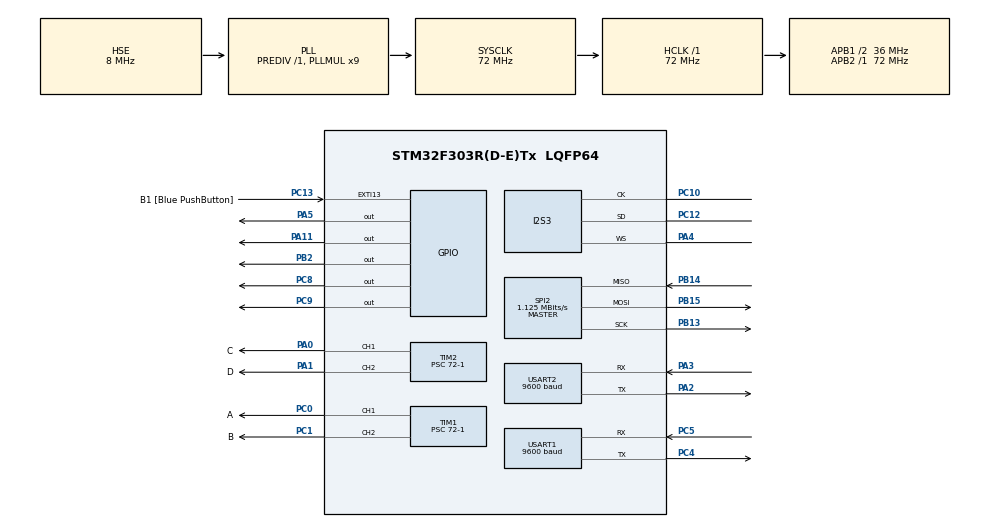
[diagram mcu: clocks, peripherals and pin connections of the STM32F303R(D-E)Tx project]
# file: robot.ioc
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I2S3.AudioFreq=I2S_AUDIOFREQ_16K
I2S3.ErrorAudioFreq=-0.26 %
I2S3.FullDuplexMode=I2S_FULLDUPLEXMODE_DISABLE
I2S3.Instance=SPI$Index
I2S3.RealAudioFreq=15.957 KHz
I2S3.VirtualMode=I2S_MODE_MASTER
Mcu.Family=STM32F3
Mcu.Name=STM32F303R(D-E)Tx
Mcu.Package=LQFP64
NVIC.PriorityGroup=NVIC_PRIORITYGROUP_0
NVIC.TIM2_IRQn=true\:0\:0\:false\:false\:true\:true\:true\:true
NVIC.TIM3_IRQn=true\:0\:0\:false\:false\:true\:true\:true\:true
NVIC.USART1_IRQn=true\:0\:0\:false\:false\:true\:true\:true\:true
NVIC.USART2_IRQn=true\:0\:0\:false\:false\:true\:true\:true\:true
PA0.GPIO_Label=C
PA0.Signal=S_TIM2_CH1_ETR
PA1.GPIO_Label=D
PA1.Signal=S_TIM2_CH2
PA11.Signal=GPIO_Output
PA13.GPIO_Label=TMS
PA13.Mode=Serial_Wire
PA13.Signal=SYS_JTMS-SWDIO
PA14.GPIO_Label=TCK
PA14.Mode=Serial_Wire
PA14.Signal=SYS_JTCK-SWCLK
PA2.Mode=Asynchronous
PA2.Signal=USART2_TX
PA3.Mode=Asynchronous
PA3.Signal=USART2_RX
PA4.Mode=Half_Duplex_Master
PA4.Signal=I2S3_WS
PA5.Signal=GPIO_Output
PB13.Mode=Full_Duplex_Master
PB13.Signal=SPI2_SCK
PB14.Mode=Full_Duplex_Master
PB14.Signal=SPI2_MISO
PB15.Mode=Full_Duplex_Master
PB15.Signal=SPI2_MOSI
PB2.Signal=GPIO_Output
PB3.GPIO_Label=SWO
PB3.Signal=SYS_JTDO-TRACESWO
PC0.GPIO_Label=A
PC0.Signal=S_TIM1_CH1
PC1.GPIO_Label=B
PC1.Signal=S_TIM1_CH2
PC10.Mode=Half_Duplex_Master
PC10.Signal=I2S3_CK
PC12.Mode=Half_Duplex_Master
PC12.Signal=I2S3_SD
PC13.GPIO_Label=B1 [Blue PushButton]
PC13.GPIO_ModeDefaultEXTI=GPIO_MODE_IT_FALLING
PC13.Signal=GPXTI13
PC14-OSC32_IN.Signal=RCC_OSC32_IN
PC15-OSC32_OUT.Signal=RCC_OSC32_OUT
PC4.Mode=Asynchronous
PC4.Signal=USART1_TX
PC5.Mode=Asynchronous
PC5.Signal=USART1_RX
PC8.Signal=GPIO_Output
PC9.Signal=GPIO_Output
PF0-OSC_IN.Mode=HSE-External-Oscillator
PF0-OSC_IN.Signal=RCC_OSC_IN
PF1-OSC_OUT.Mode=HSE-External-Oscillator
PF1-OSC_OUT.Signal=RCC_OSC_OUT
ProjectManager.HeapSize=0x200
ProjectManager.StackSize=0x400
ProjectManager.TargetToolchain=STM32CubeIDE
RCC.AHBFreq_Value=72000000
RCC.APB1CLKDivider=RCC_HCLK_DIV2
RCC.APB1Freq_Value=36000000
RCC.APB1TimFreq_Value=72000000
RCC.APB2Freq_Value=72000000
RCC.APB2TimFreq_Value=72000000
RCC.CortexFreq_Value=72000000
RCC.HCLKFreq_Value=72000000
RCC.HSE_VALUE=8000000
RCC.HSI_VALUE=8000000
RCC.LSE_VALUE=32768
RCC.PLLM=8
RCC.PLLMUL=RCC_PLL_MUL9
RCC.PLLN=336
RCC.PLLP=RCC_PLLP_DIV4
RCC.PLLQ=7
RCC.PLLSourceVirtual=RCC_PLLSOURCE_HSE
RCC.RCC_PLLsource_Clock_Source_FROM_HSE=RCC_HSE_PREDIV_DIV2
RCC.SYSCLKFreq_VALUE=72000000
RCC.SYSCLKSourceVirtual=RCC_SYSCLKSOURCE_PLLCLK
RCC.USBFreq_Value=72000000
SH.S_TIM1_CH1.0=TIM1_CH1,PWM Generation1 CH1
SH.S_TIM1_CH2.0=TIM1_CH2,PWM Generation2 CH2
SH.S_TIM2_CH1_ETR.0=TIM2_CH1,PWM Generation1 CH1
SH.S_TIM2_CH2.0=TIM2_CH2,PWM Generation2 CH2
SPI2.BaudRatePrescaler=SPI_BAUDRATEPRESCALER_32
SPI2.CalculateBaudRate=1.125 MBits/s
SPI2.DataSize=SPI_DATASIZE_8BIT
SPI2.Direction=SPI_DIRECTION_2LINES
SPI2.Mode=SPI_MODE_MASTER
SPI2.VirtualType=VM_MASTER
TIM1.Channel-PWM\ Generation1\ CH1=TIM_CHANNEL_1
TIM1.Channel-PWM\ Generation2\ CH2=TIM_CHANNEL_2
TIM1.Period=20000-1
TIM1.Prescaler=72-1
TIM2.Channel-PWM\ Generation1\ CH1=TIM_CHANNEL_1
TIM2.Channel-PWM\ Generation2\ CH2=TIM_CHANNEL_2
TIM2.Period=20000-1
TIM2.Prescaler=72-1
TIM3.Period=31
TIM3.Prescaler=71
USART1.BaudRate=9600
USART1.VirtualMode-Asynchronous=VM_ASYNC
USART2.BaudRate=9600
USART2.VirtualMode-Asynchronous=VM_ASYNC
VP_TIM1_VS_ClockSourceINT.Mode=Internal
VP_TIM2_VS_ClockSourceINT.Mode=Internal
VP_TIM3_VS_ClockSourceINT.Mode=Internal
board=NUCLEO-F303RE

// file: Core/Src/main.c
/* USER CODE BEGIN Header */
/**
 ******************************************************************************
 * @file           : main.c
 * @brief          : Main program body
 ******************************************************************************
 * @attention
 *
 * Copyright (c) 2026 STMicroelectronics.
 * All rights reserved.
 *
 * This software is licensed under terms that can be found in the LICENSE file
 * in the root directory of this software component.
 * If no LICENSE file comes with this software, it is provided AS-IS.
 *
 ******************************************************************************
 */
/* USER CODE END Header */
#include "main.h"

/* USER CODE BEGIN Includes */
#include <stdbool.h>
#include <st7735.h>
#include <fonts.h>
#include <GFX_FUNCTIONS.h>
#include <string.h>
#include "adpcm.h"
#include "fatcat.h"
#include "Image.h"
#include "ringtone1.h"
/* USER CODE END Includes */

/* USER CODE BEGIN PD */
#define BUFFER_LEN  20
#define DEFAULT_STARTUP_VAL (0x80)
#define MSG_SIZE 1

/* USER CODE END PD */

I2S_HandleTypeDef hi2s3;

SPI_HandleTypeDef hspi2;

TIM_HandleTypeDef htim1;
TIM_HandleTypeDef htim2;
TIM_HandleTypeDef htim3;

UART_HandleTypeDef huart1;
UART_HandleTypeDef huart2;

/* USER CODE BEGIN PV */

int32_t pwm_val = 0;
bool direction = 0;
uint8_t ringtone1[54334];

uint8_t RX_BUFFER[BUFFER_LEN];
uint8_t TX_BUFFER[BUFFER_LEN];
volatile uint8_t rx1, rx2;
volatile uint8_t text_request, rx_index = 0;

/* USER CODE END PV */

void SystemClock_Config(void);
static void MX_GPIO_Init(void);
static void MX_SPI2_Init(void);
static void MX_USART1_UART_Init(void);
static void MX_TIM2_Init(void);
static void MX_TIM1_Init(void);
static void MX_USART2_UART_Init(void);
static void MX_I2S3_Init(void);
static void MX_TIM3_Init(void);

/* USER CODE BEGIN 0 */
uint8_t c;

uint16_t txData;
int txIndex;
void HAL_TIM_PeriodElapsedCallback(TIM_HandleTypeDef *htim) {
	if (htim->Instance == TIM3) {
		txData = ((uint16_t) ringtone1[txIndex + 1] << 8) | ringtone1[txIndex];
		txIndex = txIndex + 2;
		if (txIndex > 54334)
			txIndex = 0;
		HAL_I2S_Transmit(&hi2s3, &txData, 1, 10);
	}
}

void HAL_UART_RxCpltCallback(UART_HandleTypeDef *huart) {
	if (huart->Instance == USART1) {
		HAL_UART_Receive_IT(&huart1, &rx1, MSG_SIZE);
	}
	// uart 2 for AT mode and debugging
	/*if (huart->Instance == USART2) {
	 HAL_UART_Transmit(&huart1, &rx2, MSG_SIZE, 100);
	 HAL_UART_Receive_IT(&huart2, &rx2, MSG_SIZE);
	 }*/
}

/* USER CODE END 0 */

int main(void) {

	/* MCU Configuration--------------------------------------------------------*/

	/* Reset of all peripherals, Initializes the Flash interface and the Systick. */
	HAL_Init();

	/* Configure the system clock */
	SystemClock_Config();

	/* Initialize all configured peripherals */
	MX_GPIO_Init();
	MX_SPI2_Init();
	MX_USART1_UART_Init();
	MX_TIM2_Init();
	MX_TIM1_Init();
	MX_USART2_UART_Init();
	MX_I2S3_Init();
	MX_TIM3_Init();
	/* USER CODE BEGIN 2 */

	txIndex = 0;
	HAL_TIM_Base_Start_IT(&htim3);

	HAL_TIM_PWM_Start(&htim2, TIM_CHANNEL_1);
	HAL_TIM_PWM_Start(&htim2, TIM_CHANNEL_2);
	HAL_TIM_PWM_Start(&htim1, TIM_CHANNEL_1);
	HAL_TIM_PWM_Start(&htim1, TIM_CHANNEL_2);

	HAL_UART_Receive_IT(&huart1, &rx1, MSG_SIZE);
	//HAL_UART_Receive_IT(&huart1, &rx2, 1);
	HAL_UART_Receive_IT(&huart2, &rx2, MSG_SIZE);
	ST7735_Init(0);
	//ST7735_DrawImage(0, 0, ST7735_WIDTH, ST7735_HEIGHT, image_data_Image);
	//HAL_Delay(3000);
	fillScreen(BLACK);
	/* USER CODE END 2 */

	/* Infinite loop */
	/* USER CODE BEGIN WHILE */

	//uint8_t cmd[] = "AT+UART=9600,1,0\r\n";
	char lcd_buf[11];
	int D_value = 1000; int A_value = 1000;
	int B_value = 1500; int C_value = 1500;
	bool D_peak = 0; bool A_peak = 0; bool B_peak = 0; bool C_peak = 0;

	while (1) {

		// servo motor
		HAL_GPIO_TogglePin(GPIOA, GPIO_PIN_5);

		if (text_request == 1) {
			text_request = 0;

			ST7735_SetRotation(3);
			ST7735_WriteString(0, 0, (char*) &rx1, Font_11x18, RED, BLACK);
			//lcd_buf[0] = rx1;
			//lcd_buf[10] = '\0';
			//ST7735_WriteString(0, 0, lcd_buf, Font_11x18, RED, BLACK);
			// if not black ?... --> hal gettick
			fillScreen(BLACK);

		}
		/*
		 // AT MODE
		 HAL_UART_Transmit(&huart1, cmd, sizeof(cmd)-1, 100);
		 // listen for response for 200 ms
		 uint32_t start = HAL_GetTick();
		 while (HAL_GetTick() - start < 200) {
		 if (HAL_UART_Receive(&huart1, &rx1, 1, 10) == HAL_OK) {
		 HAL_UART_Transmit(&huart2, &rx1, 1, 10); // send to PC
		 }
		 }
		 HAL_Delay(2000);
		 */

		// SERVO A
		__HAL_TIM_SET_COMPARE(&htim1, TIM_CHANNEL_1, A_value);
		if (!A_peak) A_value+=10;
		else A_value-=10;
		if (A_value >= 1500) A_peak = 1;
		if (A_value <= 750) A_peak = 0;

		// SERVO D
		__HAL_TIM_SET_COMPARE(&htim2, TIM_CHANNEL_2, D_value);
		if (!D_peak) D_value+=10;
		else D_value-=10;
		if (D_value >= 1500) D_peak = 1;
		if (D_value <= 750) D_peak = 0;

		// SERVO B
		__HAL_TIM_SET_COMPARE(&htim1, TIM_CHANNEL_2, B_value);
		if (!B_peak) B_value+=10;
		else B_value-=10;
		if (B_value >= 1500) B_peak = 1;
		if (B_value <= 750) B_peak = 0;

		// SERVO C
		__HAL_TIM_SET_COMPARE(&htim2, TIM_CHANNEL_1, C_value);
		if (!C_peak) C_value+=10;
		else C_value-=10;
		if (C_value >= 1500) C_peak = 1;
		if (C_value <= 750) C_peak = 0;

	/*
		 __HAL_TIM_SET_COMPARE(&htim2, TIM_CHANNEL_1, 1000);
		 __HAL_TIM_SET_COMPARE(&htim2, TIM_CHANNEL_2, 1000);
		 __HAL_TIM_SET_COMPARE(&htim1, TIM_CHANNEL_1, 1500);
		 __HAL_TIM_SET_COMPARE(&htim1, TIM_CHANNEL_2, 1500);
		 HAL_Delay(400);
		 __HAL_TIM_SET_COMPARE(&htim2, TIM_CHANNEL_1, 1500);
		 __HAL_TIM_SET_COMPARE(&htim2, TIM_CHANNEL_2, 1500);
		 __HAL_TIM_SET_COMPARE(&htim1, TIM_CHANNEL_1, 1000);
		 __HAL_TIM_SET_COMPARE(&htim1, TIM_CHANNEL_2, 1000);
		 HAL_Delay(400);
		 */

		/* USER CODE END WHILE */

		/* USER CODE BEGIN 3 */
		HAL_Delay(10);
	}
	/* USER CODE END 3 */
}

void SystemClock_Config(void) {
	RCC_OscInitTypeDef RCC_OscInitStruct = { 0 };
	RCC_ClkInitTypeDef RCC_ClkInitStruct = { 0 };
	RCC_PeriphCLKInitTypeDef PeriphClkInit = { 0 };

	/** Initializes the RCC Oscillators according to the specified parameters
	 * in the RCC_OscInitTypeDef structure.
	 */
	RCC_OscInitStruct.OscillatorType = RCC_OSCILLATORTYPE_HSE;
	RCC_OscInitStruct.HSEState = RCC_HSE_ON;
	RCC_OscInitStruct.HSIState = RCC_HSI_ON;
	RCC_OscInitStruct.PLL.PLLState = RCC_PLL_ON;
	RCC_OscInitStruct.PLL.PLLSource = RCC_PLLSOURCE_HSE;
	RCC_OscInitStruct.PLL.PLLMUL = RCC_PLL_MUL9;
	RCC_OscInitStruct.PLL.PREDIV = RCC_PREDIV_DIV1;
	if (HAL_RCC_OscConfig(&RCC_OscInitStruct) != HAL_OK) {
		Error_Handler();
	}

	/** Initializes the CPU, AHB and APB buses clocks
	 */
	RCC_ClkInitStruct.ClockType = RCC_CLOCKTYPE_HCLK | RCC_CLOCKTYPE_SYSCLK
			| RCC_CLOCKTYPE_PCLK1 | RCC_CLOCKTYPE_PCLK2;
	RCC_ClkInitStruct.SYSCLKSource = RCC_SYSCLKSOURCE_PLLCLK;
	RCC_ClkInitStruct.AHBCLKDivider = RCC_SYSCLK_DIV1;
	RCC_ClkInitStruct.APB1CLKDivider = RCC_HCLK_DIV2;
	RCC_ClkInitStruct.APB2CLKDivider = RCC_HCLK_DIV1;

	if (HAL_RCC_ClockConfig(&RCC_ClkInitStruct, FLASH_LATENCY_2) != HAL_OK) {
		Error_Handler();
	}
	PeriphClkInit.PeriphClockSelection = RCC_PERIPHCLK_I2S
			| RCC_PERIPHCLK_USART1 | RCC_PERIPHCLK_USART2 | RCC_PERIPHCLK_TIM1
			| RCC_PERIPHCLK_TIM2 | RCC_PERIPHCLK_TIM34;
	PeriphClkInit.Usart1ClockSelection = RCC_USART1CLKSOURCE_PCLK2;
	PeriphClkInit.Usart2ClockSelection = RCC_USART2CLKSOURCE_PCLK1;
	PeriphClkInit.I2sClockSelection = RCC_I2SCLKSOURCE_SYSCLK;
	PeriphClkInit.Tim1ClockSelection = RCC_TIM1CLK_HCLK;
	PeriphClkInit.Tim2ClockSelection = RCC_TIM2CLK_HCLK;
	PeriphClkInit.Tim34ClockSelection = RCC_TIM34CLK_HCLK;
	if (HAL_RCCEx_PeriphCLKConfig(&PeriphClkInit) != HAL_OK) {
		Error_Handler();
	}
}

static void MX_I2S3_Init(void) {

	hi2s3.Instance = SPI3;
	hi2s3.Init.Mode = I2S_MODE_MASTER_TX;
	hi2s3.Init.Standard = I2S_STANDARD_PHILIPS;
	hi2s3.Init.DataFormat = I2S_DATAFORMAT_16B;
	hi2s3.Init.MCLKOutput = I2S_MCLKOUTPUT_DISABLE;
	hi2s3.Init.AudioFreq = I2S_AUDIOFREQ_16K;
	hi2s3.Init.CPOL = I2S_CPOL_LOW;
	hi2s3.Init.ClockSource = I2S_CLOCK_SYSCLK;
	hi2s3.Init.FullDuplexMode = I2S_FULLDUPLEXMODE_DISABLE;
	if (HAL_I2S_Init(&hi2s3) != HAL_OK) {
		Error_Handler();
	}

}

static void MX_SPI2_Init(void) {

	/* SPI2 parameter configuration*/
	hspi2.Instance = SPI2;
	hspi2.Init.Mode = SPI_MODE_MASTER;
	hspi2.Init.Direction = SPI_DIRECTION_2LINES;
	hspi2.Init.DataSize = SPI_DATASIZE_8BIT;
	hspi2.Init.CLKPolarity = SPI_POLARITY_LOW;
	hspi2.Init.CLKPhase = SPI_PHASE_1EDGE;
	hspi2.Init.NSS = SPI_NSS_SOFT;
	hspi2.Init.BaudRatePrescaler = SPI_BAUDRATEPRESCALER_32;
	hspi2.Init.FirstBit = SPI_FIRSTBIT_MSB;
	hspi2.Init.TIMode = SPI_TIMODE_DISABLE;
	hspi2.Init.CRCCalculation = SPI_CRCCALCULATION_DISABLE;
	hspi2.Init.CRCPolynomial = 7;
	hspi2.Init.CRCLength = SPI_CRC_LENGTH_DATASIZE;
	hspi2.Init.NSSPMode = SPI_NSS_PULSE_ENABLE;
	if (HAL_SPI_Init(&hspi2) != HAL_OK) {
		Error_Handler();
	}

}

static void MX_TIM1_Init(void) {

	TIM_ClockConfigTypeDef sClockSourceConfig = { 0 };
	TIM_MasterConfigTypeDef sMasterConfig = { 0 };
	TIM_OC_InitTypeDef sConfigOC = { 0 };
	TIM_BreakDeadTimeConfigTypeDef sBreakDeadTimeConfig = { 0 };

	htim1.Instance = TIM1;
	htim1.Init.Prescaler = 72 - 1;
	htim1.Init.CounterMode = TIM_COUNTERMODE_UP;
	htim1.Init.Period = 20000 - 1;
	htim1.Init.ClockDivision = TIM_CLOCKDIVISION_DIV1;
	htim1.Init.RepetitionCounter = 0;
	htim1.Init.AutoReloadPreload = TIM_AUTORELOAD_PRELOAD_DISABLE;
	if (HAL_TIM_Base_Init(&htim1) != HAL_OK) {
		Error_Handler();
	}
	sClockSourceConfig.ClockSource = TIM_CLOCKSOURCE_INTERNAL;
	if (HAL_TIM_ConfigClockSource(&htim1, &sClockSourceConfig) != HAL_OK) {
		Error_Handler();
	}
	if (HAL_TIM_PWM_Init(&htim1) != HAL_OK) {
		Error_Handler();
	}
	sMasterConfig.MasterOutputTrigger = TIM_TRGO_RESET;
	sMasterConfig.MasterOutputTrigger2 = TIM_TRGO2_RESET;
	sMasterConfig.MasterSlaveMode = TIM_MASTERSLAVEMODE_DISABLE;
	if (HAL_TIMEx_MasterConfigSynchronization(&htim1, &sMasterConfig)
			!= HAL_OK) {
		Error_Handler();
	}
	sConfigOC.OCMode = TIM_OCMODE_PWM1;
	sConfigOC.Pulse = 0;
	sConfigOC.OCPolarity = TIM_OCPOLARITY_HIGH;
	sConfigOC.OCNPolarity = TIM_OCNPOLARITY_HIGH;
	sConfigOC.OCFastMode = TIM_OCFAST_DISABLE;
	sConfigOC.OCIdleState = TIM_OCIDLESTATE_RESET;
	sConfigOC.OCNIdleState = TIM_OCNIDLESTATE_RESET;
	if (HAL_TIM_PWM_ConfigChannel(&htim1, &sConfigOC, TIM_CHANNEL_1)
			!= HAL_OK) {
		Error_Handler();
	}
	if (HAL_TIM_PWM_ConfigChannel(&htim1, &sConfigOC, TIM_CHANNEL_2)
			!= HAL_OK) {
		Error_Handler();
	}
	sBreakDeadTimeConfig.OffStateRunMode = TIM_OSSR_DISABLE;
	sBreakDeadTimeConfig.OffStateIDLEMode = TIM_OSSI_DISABLE;
	sBreakDeadTimeConfig.LockLevel = TIM_LOCKLEVEL_OFF;
	sBreakDeadTimeConfig.DeadTime = 0;
	sBreakDeadTimeConfig.BreakState = TIM_BREAK_DISABLE;
	sBreakDeadTimeConfig.BreakPolarity = TIM_BREAKPOLARITY_HIGH;
	sBreakDeadTimeConfig.BreakFilter = 0;
	sBreakDeadTimeConfig.Break2State = TIM_BREAK2_DISABLE;
	sBreakDeadTimeConfig.Break2Polarity = TIM_BREAK2POLARITY_HIGH;
	sBreakDeadTimeConfig.Break2Filter = 0;
	sBreakDeadTimeConfig.AutomaticOutput = TIM_AUTOMATICOUTPUT_DISABLE;
	if (HAL_TIMEx_ConfigBreakDeadTime(&htim1, &sBreakDeadTimeConfig)
			!= HAL_OK) {
		Error_Handler();
	}
	HAL_TIM_MspPostInit(&htim1);

}

static void MX_TIM2_Init(void) {

	TIM_ClockConfigTypeDef sClockSourceConfig = { 0 };
	TIM_MasterConfigTypeDef sMasterConfig = { 0 };
	TIM_OC_InitTypeDef sConfigOC = { 0 };

	htim2.Instance = TIM2;
	htim2.Init.Prescaler = 72 - 1;
	htim2.Init.CounterMode = TIM_COUNTERMODE_UP;
	htim2.Init.Period = 20000 - 1;
	htim2.Init.ClockDivision = TIM_CLOCKDIVISION_DIV1;
	htim2.Init.AutoReloadPreload = TIM_AUTORELOAD_PRELOAD_DISABLE;
	if (HAL_TIM_Base_Init(&htim2) != HAL_OK) {
		Error_Handler();
	}
	sClockSourceConfig.ClockSource = TIM_CLOCKSOURCE_INTERNAL;
	if (HAL_TIM_ConfigClockSource(&htim2, &sClockSourceConfig) != HAL_OK) {
		Error_Handler();
	}
	if (HAL_TIM_PWM_Init(&htim2) != HAL_OK) {
		Error_Handler();
	}
	sMasterConfig.MasterOutputTrigger = TIM_TRGO_RESET;
	sMasterConfig.MasterSlaveMode = TIM_MASTERSLAVEMODE_DISABLE;
	if (HAL_TIMEx_MasterConfigSynchronization(&htim2, &sMasterConfig)
			!= HAL_OK) {
		Error_Handler();
	}
	sConfigOC.OCMode = TIM_OCMODE_PWM1;
	sConfigOC.Pulse = 0;
	sConfigOC.OCPolarity = TIM_OCPOLARITY_HIGH;
	sConfigOC.OCFastMode = TIM_OCFAST_DISABLE;
	if (HAL_TIM_PWM_ConfigChannel(&htim2, &sConfigOC, TIM_CHANNEL_1)
			!= HAL_OK) {
		Error_Handler();
	}
	if (HAL_TIM_PWM_ConfigChannel(&htim2, &sConfigOC, TIM_CHANNEL_2)
			!= HAL_OK) {
		Error_Handler();
	}
	HAL_TIM_MspPostInit(&htim2);

}

static void MX_TIM3_Init(void) {

	TIM_ClockConfigTypeDef sClockSourceConfig = { 0 };
	TIM_MasterConfigTypeDef sMasterConfig = { 0 };

	htim3.Instance = TIM3;
	htim3.Init.Prescaler = 71;
	htim3.Init.CounterMode = TIM_COUNTERMODE_UP;
	htim3.Init.Period = 31;
	htim3.Init.ClockDivision = TIM_CLOCKDIVISION_DIV1;
	htim3.Init.AutoReloadPreload = TIM_AUTORELOAD_PRELOAD_DISABLE;
	if (HAL_TIM_Base_Init(&htim3) != HAL_OK) {
		Error_Handler();
	}
	sClockSourceConfig.ClockSource = TIM_CLOCKSOURCE_INTERNAL;
	if (HAL_TIM_ConfigClockSource(&htim3, &sClockSourceConfig) != HAL_OK) {
		Error_Handler();
	}
	sMasterConfig.MasterOutputTrigger = TIM_TRGO_RESET;
	sMasterConfig.MasterSlaveMode = TIM_MASTERSLAVEMODE_DISABLE;
	if (HAL_TIMEx_MasterConfigSynchronization(&htim3, &sMasterConfig)
			!= HAL_OK) {
		Error_Handler();
	}

}

static void MX_USART1_UART_Init(void) {

	huart1.Instance = USART1;
	huart1.Init.BaudRate = 9600;
	huart1.Init.WordLength = UART_WORDLENGTH_8B;
	huart1.Init.StopBits = UART_STOPBITS_1;
	huart1.Init.Parity = UART_PARITY_NONE;
	huart1.Init.Mode = UART_MODE_TX_RX;
	huart1.Init.HwFlowCtl = UART_HWCONTROL_NONE;
	huart1.Init.OverSampling = UART_OVERSAMPLING_16;
	huart1.Init.OneBitSampling = UART_ONE_BIT_SAMPLE_DISABLE;
	huart1.AdvancedInit.AdvFeatureInit = UART_ADVFEATURE_NO_INIT;
	if (HAL_UART_Init(&huart1) != HAL_OK) {
		Error_Handler();
	}

}

static void MX_USART2_UART_Init(void) {

	huart2.Instance = USART2;
	huart2.Init.BaudRate = 9600;
	huart2.Init.WordLength = UART_WORDLENGTH_8B;
	huart2.Init.StopBits = UART_STOPBITS_1;
	huart2.Init.Parity = UART_PARITY_NONE;
	huart2.Init.Mode = UART_MODE_TX_RX;
	huart2.Init.HwFlowCtl = UART_HWCONTROL_NONE;
	huart2.Init.OverSampling = UART_OVERSAMPLING_16;
	huart2.Init.OneBitSampling = UART_ONE_BIT_SAMPLE_DISABLE;
	huart2.AdvancedInit.AdvFeatureInit = UART_ADVFEATURE_NO_INIT;
	if (HAL_UART_Init(&huart2) != HAL_OK) {
		Error_Handler();
	}

}

static void MX_GPIO_Init(void) {
	GPIO_InitTypeDef GPIO_InitStruct = { 0 };

	/* GPIO Ports Clock Enable */
	__HAL_RCC_GPIOC_CLK_ENABLE();
	__HAL_RCC_GPIOF_CLK_ENABLE();
	__HAL_RCC_GPIOA_CLK_ENABLE();
	__HAL_RCC_GPIOB_CLK_ENABLE();

	/*Configure GPIO pin Output Level */
	HAL_GPIO_WritePin(GPIOA, GPIO_PIN_5 | GPIO_PIN_11, GPIO_PIN_RESET);

	/*Configure GPIO pin Output Level */
	HAL_GPIO_WritePin(GPIOB, GPIO_PIN_2, GPIO_PIN_RESET);

	/*Configure GPIO pin Output Level */
	HAL_GPIO_WritePin(GPIOC, GPIO_PIN_8 | GPIO_PIN_9, GPIO_PIN_RESET);

	/*Configure GPIO pin : B1_Pin */
	GPIO_InitStruct.Pin = B1_Pin;
	GPIO_InitStruct.Mode = GPIO_MODE_IT_FALLING;
	GPIO_InitStruct.Pull = GPIO_NOPULL;
	HAL_GPIO_Init(B1_GPIO_Port, &GPIO_InitStruct);

	/*Configure GPIO pins : PA5 PA11 */
	GPIO_InitStruct.Pin = GPIO_PIN_5 | GPIO_PIN_11;
	GPIO_InitStruct.Mode = GPIO_MODE_OUTPUT_PP;
	GPIO_InitStruct.Pull = GPIO_NOPULL;
	GPIO_InitStruct.Speed = GPIO_SPEED_FREQ_LOW;
	HAL_GPIO_Init(GPIOA, &GPIO_InitStruct);

	/*Configure GPIO pin : PB2 */
	GPIO_InitStruct.Pin = GPIO_PIN_2;
	GPIO_InitStruct.Mode = GPIO_MODE_OUTPUT_PP;
	GPIO_InitStruct.Pull = GPIO_NOPULL;
	GPIO_InitStruct.Speed = GPIO_SPEED_FREQ_LOW;
	HAL_GPIO_Init(GPIOB, &GPIO_InitStruct);

	/*Configure GPIO pins : PC8 PC9 */
	GPIO_InitStruct.Pin = GPIO_PIN_8 | GPIO_PIN_9;
	GPIO_InitStruct.Mode = GPIO_MODE_OUTPUT_PP;
	GPIO_InitStruct.Pull = GPIO_NOPULL;
	GPIO_InitStruct.Speed = GPIO_SPEED_FREQ_LOW;
	HAL_GPIO_Init(GPIOC, &GPIO_InitStruct);

}

void Error_Handler(void) {
	__disable_irq();
	while (1) {
	}
}
